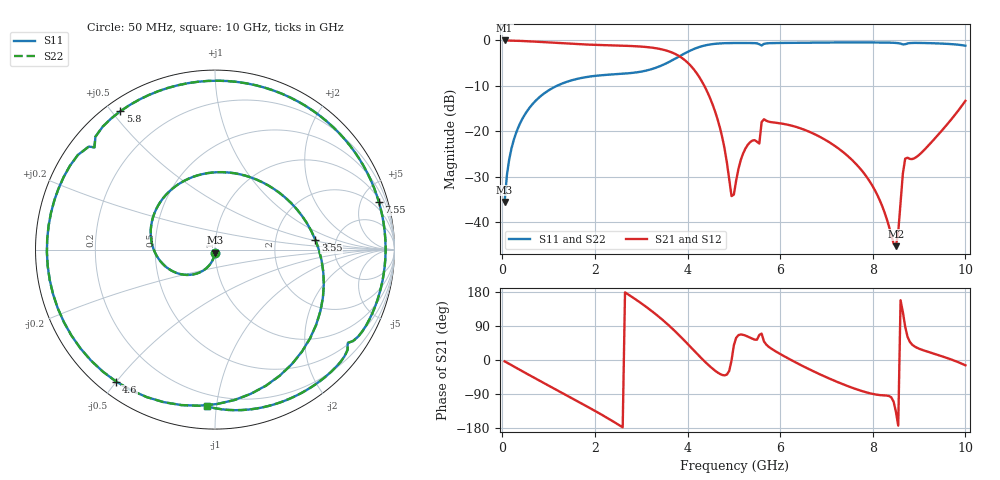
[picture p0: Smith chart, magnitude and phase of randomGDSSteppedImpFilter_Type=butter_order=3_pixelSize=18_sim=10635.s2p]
! freq	dB(S11)	phase(S11)	dB(S12)	phase(S12)
!  dB(S21)	phase(S21)	dB(S22)	phase(S22)
!S-par simulation data
#  GHz  S  DB  R 50
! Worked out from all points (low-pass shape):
!   200 points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, 50 MHz to 10 GHz, reference 50 ohm
!   highest |S21| = -0.01 dB at 50 MHz (marker M1); lowest = -45.3 dB at 8.5 GHz (marker M2)
!   |S21| within 3 dB of the highest: start of sweep to 3.739 GHz
!   lowest |S11| = -35.5 dB at 50 MHz (marker M3), VSWR 1.03, Z = 49.9 - j1.67 ohm
!   |S11| at or under -10 dB: start of sweep to 1.178 GHz
!   |S22| runs from -35.6 to -0.4 dB; largest |S21 - S12| = 0
!   S11 on the Smith chart (normalised r, x): 50 MHz: 1.00, -0.03; 3.55 GHz: 3.48, +0.53; 4.6 GHz: 0.05, -0.50; 5.8 GHz: 0.04, +0.53; 7.55 GHz: 1.24, +6.82; 10 GHz: 0.13, -0.94
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0.05  -35.55 -92.7  -0.01 -3.5  -0.01 -3.5  -35.55 -92.8
0.2  -23.71 -103.7  -0.04 -13.8  -0.04 -13.8  -23.71 -103.7
0.5  -16.11 -124.6  -0.16 -34.2  -0.16 -34.2  -16.11 -124.6
1.1  -10.40 -164.8  -0.51 -74.2  -0.51 -74.2  -10.40 -164.8
1.75  -8.18 152.2  -0.88 -117.2  -0.88 -117.2  -8.18 152.2
2.65  -7.30 88.0  -1.18 178.4  -1.18 178.4  -7.30 88.1
3.4  -5.69 21.4  -1.87 112.2  -1.87 112.2  -5.69 21.5
3.55  -5.00 5.3  -2.25 96.4  -2.25 96.4  -5.00 5.4
4.05  -2.29 -56.2  -5.37 36.4  -5.37 36.4  -2.29 -56.1
4.35  -1.17 -95.9  -9.76 -1.4  -9.76 -1.4  -1.16 -95.8
4.6  -0.74 -126.8  -15.80 -28.6  -15.80 -28.6  -0.74 -126.7
4.95  -0.58 -164.6  -34.27 -1.4  -34.27 -1.4  -0.58 -164.5
5.05  -0.57 -174.3  -30.84 58.5  -30.84 58.5  -0.57 -174.2
5.25  -0.57 167.3  -23.80 64.5  -23.80 64.5  -0.57 167.4
5.8  -0.59 124.5  -17.98 30.7  -17.98 30.7  -0.59 124.5
6.25  -0.53 92.5  -18.77 -0.9  -18.77 -0.9  -0.53 92.5
6.7  -0.49 63.7  -20.43 -28.7  -20.43 -28.7  -0.49 63.8
7.55  -0.44 16.2  -26.28 -73.0  -26.28 -73.0  -0.44 16.2
8.35  -0.49 -22.1  -40.94 -95.0  -40.94 -95.0  -0.49 -22.1
8.5  -0.55 -29.0  -45.29 -136.8  -45.29 -136.8  -0.55 -28.9
8.7  -0.84 -35.4  -26.03 88.0  -26.03 88.0  -0.83 -35.4
10  -1.16 -93.0  -13.30 -14.1  -13.30 -14.1  -1.16 -92.9
